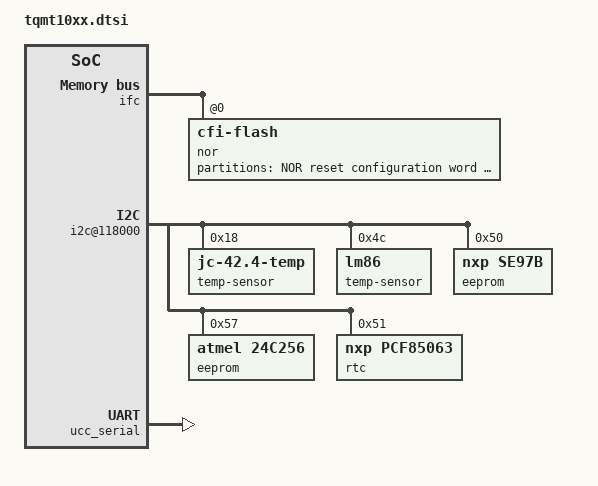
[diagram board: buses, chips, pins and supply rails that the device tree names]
// SPDX-License-Identifier: (GPL-2.0-or-later)
/*
 * TQMT1042 Device Tree Source
 * including starterkit STKTxxxx
 *
 * Copyright 2014 Freescale Semiconductor Inc.
 * Copyright 2016 Stefan Lange <s.lange@gateware.de>
 * Copyright 2019 Max Merchel <Max.Merchel@tq-group.com>
 */

/ {
	interrupt-parent = <&mpic>;
	#address-cells = <2>;
	#size-cells = <2>;

	reserved-memory {
		#address-cells = <2>;
		#size-cells = <2>;
		ranges;

		bman_fbpr: bman-fbpr {
			size = <0 0x1000000>;
			alignment = <0 0x1000000>;
		};
		qman_fqd: qman-fqd {
			size = <0 0x400000>;
			alignment = <0 0x400000>;
		};
		qman_pfdr: qman-pfdr {
			size = <0 0x2000000>;
			alignment = <0 0x2000000>;
		};
	};

	ifc: localbus@ffe124000 {
		reg = <0xf 0xfe124000 0 0x2000>;
		ranges = <0 0 0xf 0xe8000000 0x08000000>;

		nor@0,0 {
			#address-cells = <1>;
			#size-cells = <1>;
			compatible = "cfi-flash";
			reg = <0x0 0x0 0x8000000>;
			bank-width = <2>;
			device-width = <1>;

			/* reset configuration word */
			partition@0 {
				label = "NOR reset configuration word";
				reg = <0 0x20000>;
			};
			/* 8 MB linux kernel image */
			partition@20000 {
				label = "NOR Linux kernel image";
				reg =<0x20000 0x800000>;
			};
			/* 64 kB flat device tree blob */
			partition@820000 {
				label = "NOR Linux device tree blob";
				reg =<0x820000 0x20000>;
			};
			/* 64 MB root file system image */
			partition@840000 {
				label = "NOR Linux root file system image";
				reg =<0x840000 0x4000000>;
			};
			/* 54 MB spare partition */
			partition@4840000 {
				label = "NOR spare partition";
				reg =<0x4840000 0x3600000>;
			};
			/* 64 kB frame manager microcode +
			 *  64 kB quicc engine microcode
			 * common partition because sector boundary
			 * > default offset
			 * frame manager microcode @ 0xeff00000, size 0x10000
			 * quicc engine microcode @ 0xeff10000, size 0x10000
			 */
			partition@0x7f00000 {
				label = "NOR frame manager microcode + quicc engine microcode";
				reg = <0x7f00000 0x20000>;
			};
			/* 64 kB u-boot environment variables */
			partition@0x7f20000 {
				label = "NOR u-boot environment variables";
				reg = <0x7f20000 0x20000>;
			};
			/* 768 kB u-boot bootloader image */
			partition@0x7f40000 {
				label = "NOR u-boot bootloader image";
				reg = <0x7f40000 0xc0000>;
			};
		};
	};

	memory {
		device_type = "memory";
	};

	/* debug control and status register */
	dcsr: dcsr@f00000000 {
		ranges = <0x00000000 0xf 0x00000000 0x01072000>;
	};

	/* buffer manager (part of the data-path acceleration architecture) */
	bportals: bman-portals@ff4000000 {
		ranges = <0x0 0xf 0xf4000000 0x2000000>;
	};

	qportals: qman-portals@ff6000000 {
		ranges = <0x0 0xf 0xf6000000 0x2000000>;
	};

	soc: soc@ffe000000 {
		ranges = <0x00000000 0xf 0xfe000000 0x1000000>;
		reg = <0xf 0xfe000000 0 0x00001000>;

		/* I2C1 */
		 i2c@118000 {
			/* SE97B temp sensor */
			temp-sensor@18 {
				compatible = "jedec,jc-42.4-temp";
				reg = <0x18>;
			};
			/* SA56000 temp sensor */
			temp-sensor@4c {
				compatible = "lm86";
				reg = <0x4c>;
			};
			/* config eeprom */
			eeprom@50 {
				compatible = "nxp,se97b", "atmel,24c02";
				reg = <0x50>;
				pagesize = <16>;
				read-only;
			};
			/* data eeprom  */
			eeprom@57 {
				compatible = "atmel,24c256";
				reg = <0x57>;
				pagesize = <64>;
			};
			/* RTC PCF85063A */
			rtc@51 {
				compatible = "nxp,pcf85063";
				reg = <0x51>;
			};
		};

		fman0: fman@400000 {
			sleep = <&rcpm 0x00000008>;

			enet0: ethernet@e0000 {
			};

			enet1: ethernet@e2000 {
			};

			enet2: ethernet@e4000 {
			};

			enet3: ethernet@e6000 {
			};

			enet4: ethernet@e8000 {
			};

			mdio0: mdio@fc000 {
			};
		};
	};

	pci0: pcie@ffe240000 {
		status = "disabled";
		reg = <0xf 0xfe240000 0 0x10000>;
		ranges = <0x02000000 0 0xe0000000 0xc 0x0 0x0 0x10000000
			  0x01000000 0 0x0 0xf 0xf8000000 0x0 0x00010000>;
		pcie@0 {
			ranges = <0x02000000 0 0xe0000000
				  0x02000000 0 0xe0000000
				  0 0x10000000

				  0x01000000 0 0x00000000
				  0x01000000 0 0x00000000
				  0 0x00010000>;
		};
	};

	pci1: pcie@ffe250000 {
		status = "disabled";
		reg = <0xf 0xfe250000 0 0x10000>;
		ranges = <0x02000000 0x0 0xe0000000 0xc 0x10000000 0x0 0x10000000
			  0x01000000 0x0 0x00000000 0xf 0xf8010000 0x0 0x00010000>;
		pcie@0 {
			ranges = <0x02000000 0 0xe0000000
				  0x02000000 0 0xe0000000
				  0 0x10000000

				  0x01000000 0 0x00000000
				  0x01000000 0 0x00000000
				  0 0x00010000>;
		};
	};

	pci2: pcie@ffe260000 {
		status = "disabled";
		reg = <0xf 0xfe260000 0 0x10000>;
		ranges = <0x02000000 0 0xe0000000 0xc 0x20000000 0 0x10000000
			  0x01000000 0 0x00000000 0xf 0xf8020000 0 0x00010000>;
		pcie@0 {
			ranges = <0x02000000 0 0xe0000000
				  0x02000000 0 0xe0000000
				  0 0x10000000

				  0x01000000 0 0x00000000
				  0x01000000 0 0x00000000
				  0 0x00010000>;
		};
	};

	pci3: pcie@ffe270000 {
		status = "disabled";
		reg = <0xf 0xfe270000 0 0x10000>;
		ranges = <0x02000000 0 0xe0000000 0xc 0x30000000 0 0x10000000
			  0x01000000 0 0x00000000 0xf 0xf8030000 0 0x00010000>;
		pcie@0 {
			ranges = <0x02000000 0 0xe0000000
				  0x02000000 0 0xe0000000
				  0 0x10000000

				  0x01000000 0 0x00000000
				  0x01000000 0 0x00000000
				  0 0x00010000>;
		};
	};

	qe: qe@ffe140000 {
		ranges = <0x0 0xf 0xfe140000 0x40000>;
		reg = <0xf 0xfe140000 0 0x480>;
		brg-frequency = <0>;
		bus-frequency = <0>;

		si1: si@700 {
			compatible = "fsl,t1040-qe-si";
			reg = <0x700 0x80>;
		};

		siram1: siram@1000 {
			compatible = "fsl,t1040-qe-siram";
			reg = <0x1000 0x800>;
		};

		ucc_hdlc: ucc@2000 {
			compatible = "fsl,ucc-hdlc";
			rx-clock-name = "clk8";
			tx-clock-name = "clk9";
			fsl,rx-sync-clock = "rsync_pin";
			fsl,tx-sync-clock = "tsync_pin";
			fsl,tx-timeslot-mask = <0xfffffffe>;
			fsl,rx-timeslot-mask = <0xfffffffe>;
			fsl,tdm-framer-type = "e1";
			fsl,tdm-id = <0>;
			fsl,siram-entry-id = <0>;
			fsl,tdm-interface;
		};

		ucc_serial: ucc@2200 {
			compatible = "fsl,t1040-ucc-uart";
			port-number = <0>;
			rx-clock-name = "brg2";
			tx-clock-name = "brg2";
		};
	};
};
